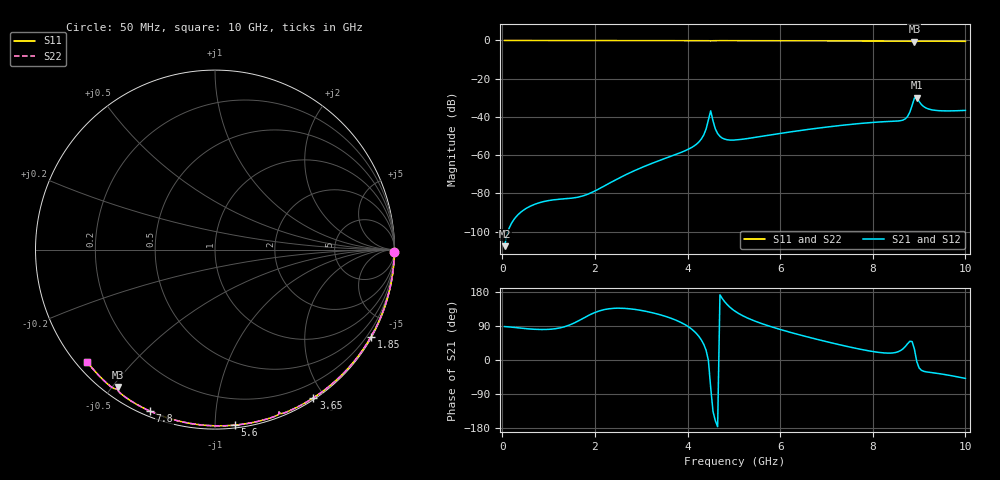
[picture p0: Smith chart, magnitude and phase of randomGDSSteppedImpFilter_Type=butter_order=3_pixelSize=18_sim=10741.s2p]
! freq	dB(S11)	phase(S11)	dB(S12)	phase(S12)
!  dB(S21)	phase(S21)	dB(S22)	phase(S22)
!S-par simulation data
#  GHz  S  DB  R 50
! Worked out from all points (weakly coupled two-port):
!   200 points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, 50 MHz to 10 GHz, reference 50 ohm
!   highest |S21| = -29.91 dB at 8.95 GHz (marker M1); lowest = -107.6 dB at 50 MHz (marker M2)
!   lowest |S11| = -0.6 dB at 8.9 GHz (marker M3), VSWR 30.18, Z = 2.1 - j25.9 ohm
!   |S11| at or under -10 dB: nowhere
!   |S22| runs from -0.6 to 0.0 dB; largest |S21 - S12| = 0
!   S11 on the Smith chart (normalised r, x): 50 MHz: open; 1.85 GHz: 0.03, -3.83; 3.65 GHz: 0.02, -1.87; 5.6 GHz: 0.02, -1.12; 7.8 GHz: 0.02, -0.67; 10 GHz: 0.03, -0.38
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0.05  -0.00 -0.8  -107.61 88.2  -107.61 88.2  -0.00 -0.8
1.75  -0.04 -27.7  -81.25 110.4  -81.25 110.4  -0.04 -27.7
1.85  -0.04 -29.3  -80.38 116.9  -80.38 116.9  -0.04 -29.3
3.4  -0.07 -52.7  -62.74 119.7  -62.74 119.7  -0.07 -52.7
3.65  -0.08 -56.4  -60.50 109.8  -60.50 109.8  -0.08 -56.4
4.25  -0.09 -65.1  -52.98 61.4  -52.98 61.4  -0.09 -65.1
4.4  -0.11 -67.4  -46.39 26.0  -46.39 26.0  -0.11 -67.4
4.5  -0.24 -68.5  -36.83 -72.3  -36.83 -72.3  -0.24 -68.5
4.6  -0.12 -69.7  -46.27 -160.3  -46.27 -160.3  -0.12 -69.7
4.7  -0.11 -71.2  -50.18 172.0  -50.18 172.0  -0.11 -71.2
5.05  -0.12 -76.1  -52.02 127.0  -52.02 127.0  -0.12 -76.1
5.6  -0.14 -83.6  -50.16 96.1  -50.16 96.1  -0.14 -83.6
6.7  -0.19 -98.1  -46.23 57.5  -46.23 57.5  -0.19 -98.1
7.8  -0.26 -112.0  -43.27 26.7  -43.27 26.7  -0.26 -112.0
8.35  -0.31 -118.9  -42.38 18.1  -42.38 18.1  -0.31 -118.9
8.7  -0.37 -123.4  -41.06 35.3  -41.06 35.3  -0.37 -123.4
8.8  -0.43 -124.7  -37.55 49.4  -37.55 49.4  -0.43 -124.7
8.9  -0.58 -125.2  -30.11 28.2  -30.11 28.2  -0.58 -125.2
8.95  -0.48 -125.0  -29.91 -4.2  -29.91 -4.2  -0.48 -125.0
9.1  -0.37 -127.4  -34.61 -29.8  -34.61 -29.8  -0.37 -127.4
9.25  -0.38 -129.4  -36.17 -32.9  -36.17 -32.9  -0.38 -129.4
10  -0.46 -138.7  -36.58 -48.5  -36.58 -48.5  -0.46 -138.7
